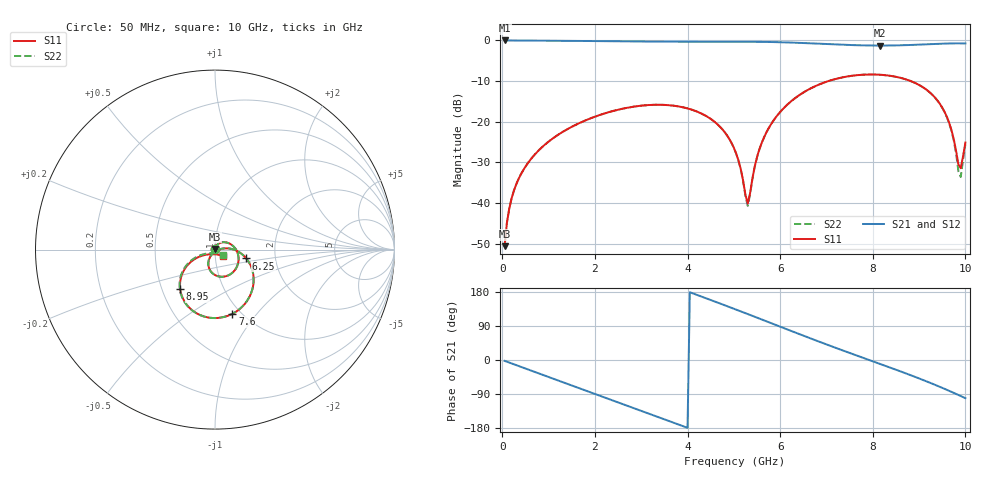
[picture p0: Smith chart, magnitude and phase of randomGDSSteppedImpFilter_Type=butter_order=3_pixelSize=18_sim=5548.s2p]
! freq	dB(S11)	phase(S11)	dB(S12)	phase(S12)
!  dB(S21)	phase(S21)	dB(S22)	phase(S22)
!S-par simulation data
#  GHz  S  DB  R 50
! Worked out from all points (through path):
!   200 points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, 50 MHz to 10 GHz, reference 50 ohm
!   highest |S21| = -0.01 dB at 50 MHz (marker M1); lowest = -1.3 dB at 8.15 GHz (marker M2)
!   group delay of S21, straight-line fit = 127 ps
!   lowest |S11| = -50.6 dB at 50 MHz (marker M3), VSWR 1.01, Z = 50 + j0.291 ohm
!   |S11| at or under -10 dB: start of sweep to 7.041 GHz; 8.821 GHz to end of sweep
!   |S22| runs from -50.6 to -8.4 dB; largest |S21 - S12| = 0
!   S11 on the Smith chart (normalised r, x): 50 MHz: 1.00, +0.01; 6.25 GHz: 1.41, -0.14; 7.6 GHz: 0.91, -0.76; 8.95 GHz: 0.62, -0.30; 10 GHz: 1.09, -0.08
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0.05  -50.60 80.5  -0.01 -2.3  -0.01 -2.3  -50.60 80.5
0.1  -44.82 81.5  -0.01 -4.5  -0.01 -4.5  -44.82 81.4
0.2  -38.89 78.7  -0.02 -9.0  -0.02 -9.0  -38.89 78.6
0.5  -31.04 66.7  -0.03 -22.5  -0.03 -22.5  -31.04 66.7
1.75  -19.89 12.4  -0.13 -78.4  -0.13 -78.4  -19.89 12.2
2.55  -16.91 -22.9  -0.23 -114.2  -0.23 -114.2  -16.91 -23.1
3.4  -15.82 -60.4  -0.30 -152.0  -0.30 -152.0  -15.82 -60.7
4.45  -18.92 -105.6  -0.32 160.7  -0.32 160.7  -18.92 -106.1
5.05  -27.80 -123.8  -0.32 133.0  -0.32 133.0  -27.82 -124.9
5.3  -40.08 -57.4  -0.33 121.3  -0.33 121.3  -40.69 -57.8
5.45  -31.03 4.0  -0.34 114.2  -0.34 114.2  -31.12 5.2
5.65  -23.88 6.4  -0.36 104.7  -0.36 104.7  -23.90 6.8
6.25  -14.84 -15.8  -0.53 76.1  -0.53 76.1  -14.84 -15.8
6.7  -11.56 -35.6  -0.74 54.9  -0.74 54.9  -11.56 -35.7
7.6  -8.62 -74.8  -1.16 14.2  -1.16 14.2  -8.62 -75.1
8.15  -8.43 -97.9  -1.26 -10.0  -1.26 -10.0  -8.44 -98.3
8.35  -8.66 -106.1  -1.25 -18.9  -1.25 -18.9  -8.66 -106.6
8.95  -10.65 -131.3  -1.06 -46.2  -1.06 -46.2  -10.66 -132.1
9.55  -17.56 -154.5  -0.78 -76.1  -0.78 -76.1  -17.63 -156.9
9.7  -22.06 -154.6  -0.73 -84.1  -0.73 -84.1  -22.26 -158.7
9.9  -31.43 -81.0  -0.72 -95.1  -0.72 -95.1  -33.57 -76.9
10  -25.12 -38.3  -0.74 -100.7  -0.74 -100.7  -25.53 -32.2
